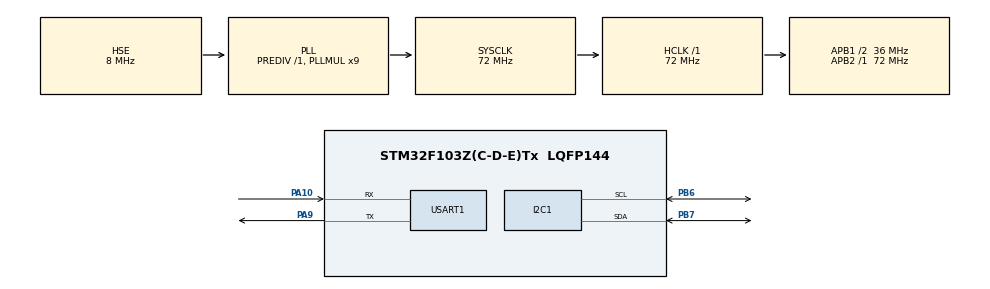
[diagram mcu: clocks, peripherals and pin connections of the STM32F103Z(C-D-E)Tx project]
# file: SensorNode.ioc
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Mcu.Family=STM32F1
Mcu.Name=STM32F103Z(C-D-E)Tx
Mcu.Package=LQFP144
NVIC.PriorityGroup=NVIC_PRIORITYGROUP_4
OSC_IN.Mode=HSE-External-Oscillator
OSC_IN.Signal=RCC_OSC_IN
OSC_OUT.Mode=HSE-External-Oscillator
OSC_OUT.Signal=RCC_OSC_OUT
PA10.Mode=Asynchronous
PA10.Signal=USART1_RX
PA13.Mode=Serial_Wire
PA13.Signal=SYS_JTMS-SWDIO
PA14.Mode=Serial_Wire
PA14.Signal=SYS_JTCK-SWCLK
PA9.Mode=Asynchronous
PA9.Signal=USART1_TX
PB6.Mode=I2C
PB6.Signal=I2C1_SCL
PB7.Mode=I2C
PB7.Signal=I2C1_SDA
ProjectManager.HeapSize=0x200
ProjectManager.StackSize=0x400
ProjectManager.TargetToolchain=MDK-ARM V5.32
RCC.AHBFreq_Value=72000000
RCC.APB1CLKDivider=RCC_HCLK_DIV2
RCC.APB1Freq_Value=36000000
RCC.APB1TimFreq_Value=72000000
RCC.APB2Freq_Value=72000000
RCC.APB2TimFreq_Value=72000000
RCC.HCLKFreq_Value=72000000
RCC.PLLMUL=RCC_PLL_MUL9
RCC.PLLSourceVirtual=RCC_PLLSOURCE_HSE
RCC.SYSCLKFreq_VALUE=72000000
RCC.SYSCLKSource=RCC_SYSCLKSOURCE_PLLCLK
RCC.USBFreq_Value=72000000
USART1.VirtualMode=VM_ASYNC
board=custom

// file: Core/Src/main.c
/* USER CODE BEGIN Header */
/**
  ******************************************************************************
  * @file           : main.c
  * @brief          : Main program body
  ******************************************************************************
  * @attention
  *
  * Copyright (c) 2026 STMicroelectronics.
  * All rights reserved.
  *
  * This software is licensed under terms that can be found in the LICENSE file
  * in the root directory of this software component.
  * If no LICENSE file comes with this software, it is provided AS-IS.
  *
  ******************************************************************************
  */
/* USER CODE END Header */
#include "main.h"
#include "i2c.h"
#include "usart.h"
#include "gpio.h"
#include "sht30.h"

void SystemClock_Config(void);

/* USER CODE BEGIN 0 */
/* USER CODE BEGIN 0 */
// ??? Modbus CRC16 ???? (C???)
uint16_t CalculateCRC16(uint8_t *data, uint16_t len)
{
    uint16_t crc = 0xFFFF;
    for (uint16_t pos = 0; pos < len; pos++) {
        crc ^= (uint16_t)data[pos];
        for (int i = 8; i != 0; i--) {
            if ((crc & 0x0001) != 0) {
                crc >>= 1;
                crc ^= 0xA001;
            } else {
                crc >>= 1;
            }
        }
    }
    return crc;
}
/* USER CODE END 0 */

/* USER CODE END 0 */

int main(void)
{

  /* MCU Configuration--------------------------------------------------------*/

  /* Reset of all peripherals, Initializes the Flash interface and the Systick. */
  HAL_Init();

  /* Configure the system clock */
  SystemClock_Config();

  /* Initialize all configured peripherals */
  MX_GPIO_Init();
  MX_I2C1_Init();
  MX_USART1_UART_Init();
  /* USER CODE BEGIN 2 */
	float temp_val = 0.0f;
  float hum_val = 0.0f;

  /* USER CODE END 2 */

  /* Infinite loop */
  while (1)
  {

    /* USER CODE BEGIN 3 */
		if (SHT30_Read_TempHum(&temp_val, &hum_val) == 1)
      {
          // 2. ?????? 100 ??????,????????????????????????
          // ??:25.34 ? -> 2534
          int16_t send_temp = (int16_t)(temp_val * 100.0f);
          uint16_t send_hum = (uint16_t)(hum_val * 100.0f);

          // 3. ?? 10 ????????
          uint8_t tx_buffer[10];

          // 4. ???? Qt ????????????
          tx_buffer[0] = 0xAA;                                 // ??1
          tx_buffer[1] = 0x55;                                 // ??2
          tx_buffer[2] = 0x04;                                 // ????? (????4??)

          tx_buffer[3] = (uint8_t)((send_temp >> 8) & 0xFF);   // ?????
          tx_buffer[4] = (uint8_t)(send_temp & 0xFF);          // ?????

          tx_buffer[5] = (uint8_t)((send_hum >> 8) & 0xFF);    // ?????
          tx_buffer[6] = (uint8_t)(send_hum & 0xFF);           // ?????

          // 5. ?? 7 ????? CRC ???
          uint16_t crc_val = CalculateCRC16(tx_buffer, 7);

          tx_buffer[7] = (uint8_t)((crc_val >> 8) & 0xFF);     // ??????
          tx_buffer[8] = (uint8_t)(crc_val & 0xFF);            // ??????

          tx_buffer[9] = 0x5D;                                 // ?????

          // 6. ?? USART1 ??????
          HAL_UART_Transmit(&huart1, tx_buffer, 10, HAL_MAX_DELAY);
      }

      // 7. ?????? (????????? 1 ? 1 ????)
      HAL_Delay(1000);
  }
  /* USER CODE END 3 */
}

void SystemClock_Config(void)
{
  RCC_OscInitTypeDef RCC_OscInitStruct = {0};
  RCC_ClkInitTypeDef RCC_ClkInitStruct = {0};

  /** Initializes the RCC Oscillators according to the specified parameters
  * in the RCC_OscInitTypeDef structure.
  */
  RCC_OscInitStruct.OscillatorType = RCC_OSCILLATORTYPE_HSE;
  RCC_OscInitStruct.HSEState = RCC_HSE_ON;
  RCC_OscInitStruct.HSEPredivValue = RCC_HSE_PREDIV_DIV1;
  RCC_OscInitStruct.HSIState = RCC_HSI_ON;
  RCC_OscInitStruct.PLL.PLLState = RCC_PLL_ON;
  RCC_OscInitStruct.PLL.PLLSource = RCC_PLLSOURCE_HSE;
  RCC_OscInitStruct.PLL.PLLMUL = RCC_PLL_MUL9;
  if (HAL_RCC_OscConfig(&RCC_OscInitStruct) != HAL_OK)
  {
    Error_Handler();
  }

  /** Initializes the CPU, AHB and APB buses clocks
  */
  RCC_ClkInitStruct.ClockType = RCC_CLOCKTYPE_HCLK|RCC_CLOCKTYPE_SYSCLK
                              |RCC_CLOCKTYPE_PCLK1|RCC_CLOCKTYPE_PCLK2;
  RCC_ClkInitStruct.SYSCLKSource = RCC_SYSCLKSOURCE_PLLCLK;
  RCC_ClkInitStruct.AHBCLKDivider = RCC_SYSCLK_DIV1;
  RCC_ClkInitStruct.APB1CLKDivider = RCC_HCLK_DIV2;
  RCC_ClkInitStruct.APB2CLKDivider = RCC_HCLK_DIV1;

  if (HAL_RCC_ClockConfig(&RCC_ClkInitStruct, FLASH_LATENCY_2) != HAL_OK)
  {
    Error_Handler();
  }
}

void Error_Handler(void)
{
  __disable_irq();
  while (1)
  {
  }
}
